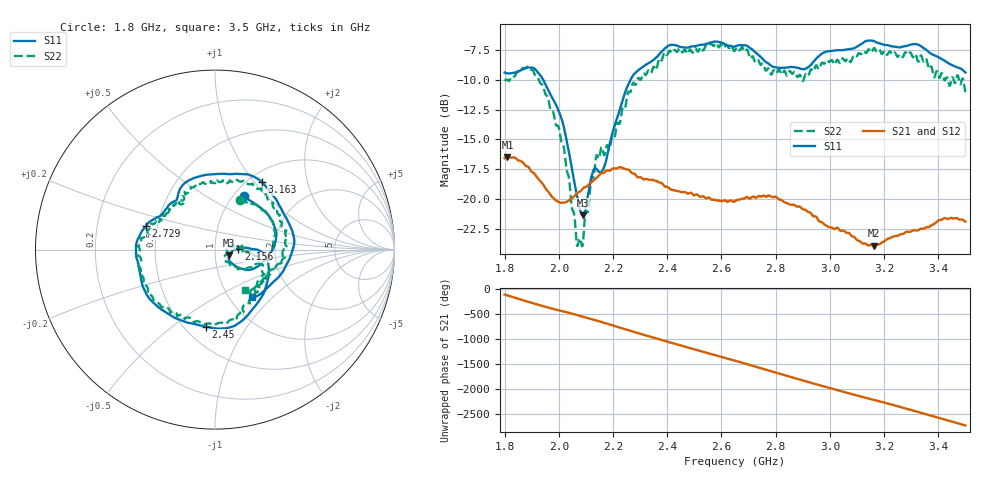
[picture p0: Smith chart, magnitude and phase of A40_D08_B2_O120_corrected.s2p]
! Created with skrf 1.9.0 (http://scikit-rf.org).
# Hz S RI R 50.0
!freq ReS11 ImS11 ReS21 ImS21 ReS12 ImS12 ReS22 ImS22
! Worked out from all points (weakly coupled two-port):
!   1601 points, 1.8 GHz to 3.5 GHz, reference 50 ohm
!   highest |S21| = -16.47 dB at 1.811 GHz (marker M1); lowest = -23.9 dB at 3.162 GHz (marker M2)
!   lowest |S11| = -21.3 dB at 2.089 GHz (marker M3), VSWR 1.19, Z = 58.5 - j3.69 ohm
!   |S11| at or under -10 dB: 1.942 GHz to 2.265 GHz (322.9 MHz wide, 15.3 % of centre)
!   |S22| runs from -23.9 to -6.9 dB; largest |S21 - S12| = 0.0028
!   S11 on the Smith chart (normalised r, x): 1.8 GHz: 1.12, +0.75; 2.156 GHz: 1.30, +0.01; 2.45 GHz: 0.63, -0.67; 2.729 GHz: 0.43, +0.13; 3.163 GHz: 1.16, +1.10; 3.5 GHz: 1.27, -0.76
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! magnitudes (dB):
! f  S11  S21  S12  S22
! 1.8 GHz  -9.4  -16.6  -16.6  -10.1
! 1.811 GHz  -9.5  -16.5  -16.5  -10.0
! 1.886 GHz  -9.0  -17.3  -17.3  -8.9
! 1.941 GHz  -10.0  -18.7  -18.7  -10.5
! 2.013 GHz  -13.4  -20.3  -20.3  -15.3
! 2.066 GHz  -19.6  -19.5  -19.5  -23.6
! 2.084 GHz  -21.2  -19.2  -19.2  -23.7
! 2.089 GHz  -21.3  -19.1  -19.1  -23.7
! 2.127 GHz  -17.6  -18.4  -18.4  -18.2
! 2.156 GHz  -17.7  -17.8  -17.8  -15.7
! 2.19 GHz  -15.2  -17.6  -17.6  -15.5
! 2.262 GHz  -10.1  -17.6  -17.6  -11.1
! 2.367 GHz  -8.0  -18.6  -18.5  -8.4
! 2.45 GHz  -7.3  -19.4  -19.4  -7.6
! 2.65 GHz  -7.2  -20.1  -20.1  -7.6
! 2.729 GHz  -7.8  -19.9  -19.9  -8.5
! 2.934 GHz  -8.7  -21.3  -21.3  -9.2
! 3.162 GHz  -6.8  -23.9  -23.8  -7.4
! 3.163 GHz  -6.8  -23.9  -23.8  -7.4
! 3.217 GHz  -7.2  -23.3  -23.2  -7.7
! 3.325 GHz  -7.1  -22.6  -22.6  -8.5
! 3.5 GHz  -9.4  -21.9  -21.9  -11.1
